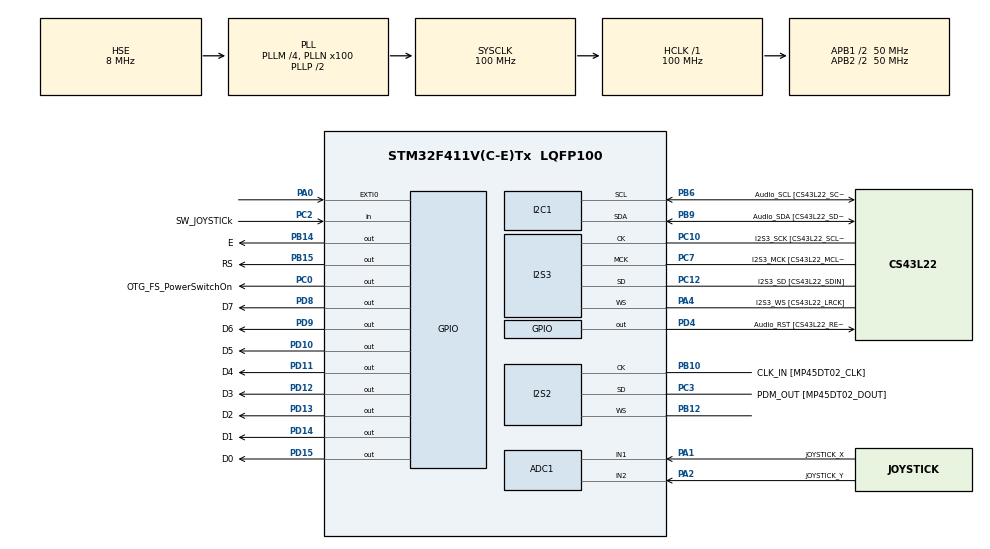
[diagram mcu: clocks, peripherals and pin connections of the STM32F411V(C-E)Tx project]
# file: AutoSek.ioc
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ADC1.Channel-0\#ChannelRegularConversion=ADC_CHANNEL_1
ADC1.Channel-1\#ChannelRegularConversion=ADC_CHANNEL_2
ADC1.NbrOfConversion=2
ADC1.NbrOfConversionFlag=1
ADC1.Rank-0\#ChannelRegularConversion=1
ADC1.Rank-1\#ChannelRegularConversion=2
ADC1.SamplingTime-0\#ChannelRegularConversion=ADC_SAMPLETIME_480CYCLES
ADC1.SamplingTime-1\#ChannelRegularConversion=ADC_SAMPLETIME_480CYCLES
ADC1.master=1
Dma.ADC1.0.Direction=DMA_PERIPH_TO_MEMORY
Dma.ADC1.0.FIFOMode=DMA_FIFOMODE_DISABLE
Dma.ADC1.0.Instance=DMA2_Stream0
Dma.ADC1.0.MemDataAlignment=DMA_MDATAALIGN_HALFWORD
Dma.ADC1.0.MemInc=DMA_MINC_ENABLE
Dma.ADC1.0.Mode=DMA_CIRCULAR
Dma.ADC1.0.PeriphDataAlignment=DMA_PDATAALIGN_HALFWORD
Dma.ADC1.0.PeriphInc=DMA_PINC_DISABLE
Dma.ADC1.0.Priority=DMA_PRIORITY_LOW
Dma.Request0=ADC1
Dma.Request1=SPI3_TX
Dma.Request2=SPI2_RX
Dma.SPI2_RX.2.Direction=DMA_PERIPH_TO_MEMORY
Dma.SPI2_RX.2.FIFOMode=DMA_FIFOMODE_DISABLE
Dma.SPI2_RX.2.Instance=DMA1_Stream3
Dma.SPI2_RX.2.MemDataAlignment=DMA_MDATAALIGN_HALFWORD
Dma.SPI2_RX.2.MemInc=DMA_MINC_ENABLE
Dma.SPI2_RX.2.Mode=DMA_CIRCULAR
Dma.SPI2_RX.2.PeriphDataAlignment=DMA_PDATAALIGN_HALFWORD
Dma.SPI2_RX.2.PeriphInc=DMA_PINC_DISABLE
Dma.SPI2_RX.2.Priority=DMA_PRIORITY_LOW
Dma.SPI3_TX.1.Direction=DMA_MEMORY_TO_PERIPH
Dma.SPI3_TX.1.FIFOMode=DMA_FIFOMODE_DISABLE
Dma.SPI3_TX.1.Instance=DMA1_Stream5
Dma.SPI3_TX.1.MemDataAlignment=DMA_MDATAALIGN_HALFWORD
Dma.SPI3_TX.1.MemInc=DMA_MINC_ENABLE
Dma.SPI3_TX.1.Mode=DMA_CIRCULAR
Dma.SPI3_TX.1.PeriphDataAlignment=DMA_PDATAALIGN_HALFWORD
Dma.SPI3_TX.1.PeriphInc=DMA_PINC_DISABLE
Dma.SPI3_TX.1.Priority=DMA_PRIORITY_LOW
I2S2.AudioFreq=I2S_AUDIOFREQ_44K
I2S2.DataFormat=I2S_DATAFORMAT_24B
I2S2.ErrorAudioFreq=0.14 %
I2S2.FullDuplexMode=I2S_FULLDUPLEXMODE_DISABLE
I2S2.Instance=SPI$Index
I2S2.Mode=I2S_MODE_SLAVE_RX
I2S2.RealAudioFreq=44.062 KHz
I2S2.Standard=I2S_STANDARD_MSB
I2S2.VirtualMode=I2S_MODE_SLAVE
I2S3.AudioFreq=I2S_AUDIOFREQ_44K
I2S3.DataFormat=I2S_DATAFORMAT_24B
I2S3.ErrorAudioFreq=0.14 %
I2S3.FullDuplexMode=I2S_FULLDUPLEXMODE_DISABLE
I2S3.Instance=SPI$Index
I2S3.RealAudioFreq=44.062 KHz
I2S3.VirtualMode=I2S_MODE_MASTER
Mcu.Family=STM32F4
Mcu.Name=STM32F411V(C-E)Tx
Mcu.Package=LQFP100
NVIC.DMA1_Stream3_IRQn=true\:0\:0\:false\:false\:true\:false\:true
NVIC.DMA1_Stream5_IRQn=true\:0\:0\:false\:false\:true\:false\:true
NVIC.DMA2_Stream0_IRQn=true\:0\:0\:false\:false\:true\:false\:true
NVIC.PriorityGroup=NVIC_PRIORITYGROUP_0
PA0-WKUP.GPIO_ModeDefaultEXTI=GPIO_MODE_EVT_RISING
PA0-WKUP.Signal=GPXTI0
PA1.GPIO_Label=JOYSTICK_X
PA1.Signal=ADCx_IN1
PA2.GPIO_Label=JOYSTICK_Y
PA2.Signal=ADCx_IN2
PA4.GPIO_Label=I2S3_WS [CS43L22_LRCK]
PA4.GPIO_Mode=GPIO_MODE_AF_PP
PA4.GPIO_PuPd=GPIO_NOPULL
PA4.GPIO_Speed=GPIO_SPEED_FREQ_HIGH
PA4.Mode=Half_Duplex_Master
PA4.Signal=I2S3_WS
PB10.GPIO_Label=CLK_IN [MP45DT02_CLK]
PB10.Mode=Half_Duplex_Slave
PB10.Signal=I2S2_CK
PB12.Mode=Half_Duplex_Slave
PB12.Signal=I2S2_WS
PB14.GPIO_Label=E
PB14.Signal=GPIO_Output
PB15.GPIO_Label=RS
PB15.Signal=GPIO_Output
PB6.GPIO_Label=Audio_SCL [CS43L22_SCL]
PB6.GPIO_Mode=GPIO_MODE_AF_OD
PB6.GPIO_PuPd=GPIO_NOPULL
PB6.GPIO_Speed=GPIO_SPEED_FREQ_LOW
PB6.Mode=I2C
PB6.Signal=I2C1_SCL
PB9.GPIO_Label=Audio_SDA [CS43L22_SDA]
PB9.GPIO_Mode=GPIO_MODE_AF_OD
PB9.GPIO_PuPd=GPIO_NOPULL
PB9.GPIO_Speed=GPIO_SPEED_FREQ_LOW
PB9.Mode=I2C
PB9.Signal=I2C1_SDA
PC0.GPIO_Label=OTG_FS_PowerSwitchOn
PC0.PinState=GPIO_PIN_SET
PC0.Signal=GPIO_Output
PC10.GPIO_Label=I2S3_SCK [CS43L22_SCLK]
PC10.GPIO_Mode=GPIO_MODE_AF_PP
PC10.GPIO_PuPd=GPIO_NOPULL
PC10.GPIO_Speed=GPIO_SPEED_FREQ_HIGH
PC10.Mode=Half_Duplex_Master
PC10.Signal=I2S3_CK
PC12.GPIO_Label=I2S3_SD [CS43L22_SDIN]
PC12.GPIO_Mode=GPIO_MODE_AF_PP
PC12.GPIO_PuPd=GPIO_NOPULL
PC12.GPIO_Speed=GPIO_SPEED_FREQ_HIGH
PC12.Mode=Half_Duplex_Master
PC12.Signal=I2S3_SD
PC14-OSC32_IN.Mode=LSE-External-Oscillator
PC14-OSC32_IN.Signal=RCC_OSC32_IN
PC15-OSC32_OUT.Mode=LSE-External-Oscillator
PC15-OSC32_OUT.Signal=RCC_OSC32_OUT
PC2.GPIO_Label=SW_JOYSTICk
PC2.GPIO_PuPd=GPIO_NOPULL
PC2.Signal=GPIO_Input
PC3.GPIO_Label=PDM_OUT [MP45DT02_DOUT]
PC3.Mode=Half_Duplex_Slave
PC3.Signal=I2S2_SD
PC7.GPIO_Label=I2S3_MCK [CS43L22_MCLK]
PC7.GPIO_Mode=GPIO_MODE_AF_PP
PC7.GPIO_PuPd=GPIO_NOPULL
PC7.GPIO_Speed=GPIO_SPEED_FREQ_HIGH
PC7.Mode=Master_Clock_Activated
PC7.Signal=I2S3_MCK
PD10.GPIO_Label=D5
PD10.Signal=GPIO_Output
PD11.GPIO_Label=D4
PD11.Signal=GPIO_Output
PD12.GPIO_Label=D3
PD12.Signal=GPIO_Output
PD13.GPIO_Label=D2
PD13.Signal=GPIO_Output
PD14.GPIO_Label=D1
PD14.Signal=GPIO_Output
PD15.GPIO_Label=D0
PD15.Signal=GPIO_Output
PD4.GPIO_Label=Audio_RST [CS43L22_RESET]
PD4.Signal=GPIO_Output
PD8.GPIO_Label=D7
PD8.Signal=GPIO_Output
PD9.GPIO_Label=D6
PD9.Signal=GPIO_Output
PDM2PCM.CHANNEL1_in_ptr_channels=1
PDM2PCM.CHANNEL1_out_ptr_channels=1
PH0\ -\ OSC_IN.GPIO_Label=PH0-OSC_IN
PH0\ -\ OSC_IN.Mode=HSE-External-Oscillator
PH0\ -\ OSC_IN.Signal=RCC_OSC_IN
PH1\ -\ OSC_OUT.GPIO_Label=PH1-OSC_OUT
PH1\ -\ OSC_OUT.Mode=HSE-External-Oscillator
PH1\ -\ OSC_OUT.Signal=RCC_OSC_OUT
ProjectManager.HeapSize=0x200
ProjectManager.StackSize=0x400
ProjectManager.TargetToolchain=STM32CubeIDE
RCC.48MHZClocksFreq_Value=25000000
RCC.AHBFreq_Value=100000000
RCC.APB1CLKDivider=RCC_HCLK_DIV2
RCC.APB1Freq_Value=50000000
RCC.APB1TimFreq_Value=100000000
RCC.APB2CLKDivider=RCC_HCLK_DIV2
RCC.APB2Freq_Value=50000000
RCC.APB2TimFreq_Value=100000000
RCC.CortexFreq_Value=100000000
RCC.HCLKFreq_Value=100000000
RCC.HSE_VALUE=8000000
RCC.HSI_VALUE=16000000
RCC.PLLI2SM=5
RCC.PLLI2SN=141
RCC.PLLM=4
RCC.PLLN=100
RCC.PLLQ=8
RCC.PLLSourceVirtual=RCC_PLLSOURCE_HSE
RCC.SYSCLKFreq_VALUE=100000000
RCC.SYSCLKSource=RCC_SYSCLKSOURCE_PLLCLK
RCC.VCOOutputFreq_Value=200000000
SH.ADCx_IN1.0=ADC1_IN1,IN1
SH.ADCx_IN2.0=ADC1_IN2,IN2
VP_CRC_VS_CRC.Mode=CRC_Activate
VP_PDM2PCM_VS_PDM2PCM.Mode=PDM2PCM_Channel
board=STM32F411E-DISCO

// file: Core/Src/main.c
/* USER CODE BEGIN Header */
/**
  ******************************************************************************
  * @file           : main.c
  * @brief          : Main program body
  ******************************************************************************
  * @attention
  *
  * <h2><center>&copy; Copyright (c) 2021 STMicroelectronics.
  * All rights reserved.</center></h2>
  *
  * This software component is licensed by ST under BSD 3-Clause license,
  * the "License"; You may not use this file except in compliance with the
  * License. You may obtain a copy of the License at:
  *                        opensource.org/licenses/BSD-3-Clause
  *
  ******************************************************************************
  */
/* USER CODE END Header */
#include "main.h"
#include "pdm2pcm.h"

ADC_HandleTypeDef hadc1;
DMA_HandleTypeDef hdma_adc1;

CRC_HandleTypeDef hcrc;

I2C_HandleTypeDef hi2c1;

I2S_HandleTypeDef hi2s2;
I2S_HandleTypeDef hi2s3;
DMA_HandleTypeDef hdma_spi2_rx;
DMA_HandleTypeDef hdma_spi3_tx;

/* USER CODE BEGIN PV */
uint16_t txBuf[128];
uint16_t pdmRxBuf[128];
uint16_t MidBuffer[16];
uint8_t txstate = 0;
uint8_t rxstate = 0;

uint16_t fifobuf[256];
uint8_t fifo_w_ptr = 0;
uint8_t fifo_r_ptr = 0;
uint8_t fifo_read_enabled = 0;
/* USER CODE END PV */

void SystemClock_Config(void);
static void MX_GPIO_Init(void);
static void MX_DMA_Init(void);
static void MX_ADC1_Init(void);
static void MX_I2C1_Init(void);
static void MX_I2S2_Init(void);
static void MX_I2S3_Init(void);
static void MX_CRC_Init(void);
/* USER CODE BEGIN PFP */
void FifoWrite(uint16_t data) {
	fifobuf[fifo_w_ptr] = data;
	fifo_w_ptr++;
}

uint16_t FifoRead() {
	uint16_t val = fifobuf[fifo_r_ptr];
	fifo_r_ptr++;
	return val;
}
/* USER CODE END PFP */

int main(void)
{

  /* MCU Configuration--------------------------------------------------------*/

  /* Reset of all peripherals, Initializes the Flash interface and the Systick. */
  HAL_Init();

  /* Configure the system clock */
  SystemClock_Config();

  /* Initialize all configured peripherals */
  MX_GPIO_Init();
  MX_DMA_Init();
  MX_ADC1_Init();
  MX_I2C1_Init();
  MX_I2S2_Init();
  MX_I2S3_Init();
  MX_CRC_Init();
  MX_PDM2PCM_Init();
  /* USER CODE BEGIN 2 */
  HAL_I2S_Transmit_DMA(&hi2s3, &txBuf[0], 64);
  HAL_I2S_Receive_DMA(&hi2s2, &pdmRxBuf[0],64);
  /* USER CODE END 2 */

  /* Infinite loop */
  /* USER CODE BEGIN WHILE */
  while (1)
  {
	  if (rxstate==1) {
	      	PDM_Filter(&pdmRxBuf[0],&MidBuffer[0], &PDM1_filter_handler);
	      	for (int i=0; i<16;i++) { FifoWrite(MidBuffer[i]); }
	      	if (fifo_w_ptr-fifo_r_ptr > 128) fifo_read_enabled=1;
	      	rxstate=0;

	      }

	      if (rxstate==2) {
	      	PDM_Filter(&pdmRxBuf[64],&MidBuffer[0], &PDM1_filter_handler);
	      	for (int i=0; i<16;i++) { FifoWrite(MidBuffer[i]); }
	      	rxstate=0;

	      }

	      if (txstate==1) {
	      	if (fifo_read_enabled==1) {
	  			for (int i=0; i<64;i=i+4) {
	  				uint16_t data = FifoRead();
	  				txBuf[i] = data;
	  				txBuf[i+2] = data;
	  			}
	      	}
	      	txstate=0;
	      }

	      if (txstate==2) {
	      	if (fifo_read_enabled==1) {
	  			for (int i=64; i<128;i=i+4) {
	  				uint16_t data = FifoRead();
	  				txBuf[i] = data;
	  				txBuf[i+2] = data;
	  			}

	  		}
	      	txstate=0;
	      }
    /* USER CODE END WHILE */

  }
}

void HAL_I2S_TxHalfCpltCallback (I2S_HandleTypeDef *hi2s) {
	txstate = 1;
}

void HAL_I2S_TxCpltCallback (I2S_HandleTypeDef *hi2s) {
	txstate = 2;
}

void HAL_I2S_RxHalfCpltCallback (I2S_HandleTypeDef *hi2s) {
	rxstate = 1;
}

void HAL_I2S_RxCpltCallback (I2S_HandleTypeDef *hi2s) {
	rxstate = 2;
}

void SystemClock_Config(void)
{
  RCC_OscInitTypeDef RCC_OscInitStruct = {0};
  RCC_ClkInitTypeDef RCC_ClkInitStruct = {0};
  RCC_PeriphCLKInitTypeDef PeriphClkInitStruct = {0};

  /** Configure the main internal regulator output voltage
  */
  __HAL_RCC_PWR_CLK_ENABLE();
  __HAL_PWR_VOLTAGESCALING_CONFIG(PWR_REGULATOR_VOLTAGE_SCALE1);
  /** Initializes the RCC Oscillators according to the specified parameters
  * in the RCC_OscInitTypeDef structure.
  */
  RCC_OscInitStruct.OscillatorType = RCC_OSCILLATORTYPE_HSE;
  RCC_OscInitStruct.HSEState = RCC_HSE_ON;
  RCC_OscInitStruct.PLL.PLLState = RCC_PLL_ON;
  RCC_OscInitStruct.PLL.PLLSource = RCC_PLLSOURCE_HSE;
  RCC_OscInitStruct.PLL.PLLM = 4;
  RCC_OscInitStruct.PLL.PLLN = 100;
  RCC_OscInitStruct.PLL.PLLP = RCC_PLLP_DIV2;
  RCC_OscInitStruct.PLL.PLLQ = 8;
  if (HAL_RCC_OscConfig(&RCC_OscInitStruct) != HAL_OK)
  {
    Error_Handler();
  }
  /** Initializes the CPU, AHB and APB buses clocks
  */
  RCC_ClkInitStruct.ClockType = RCC_CLOCKTYPE_HCLK|RCC_CLOCKTYPE_SYSCLK
                              |RCC_CLOCKTYPE_PCLK1|RCC_CLOCKTYPE_PCLK2;
  RCC_ClkInitStruct.SYSCLKSource = RCC_SYSCLKSOURCE_PLLCLK;
  RCC_ClkInitStruct.AHBCLKDivider = RCC_SYSCLK_DIV1;
  RCC_ClkInitStruct.APB1CLKDivider = RCC_HCLK_DIV2;
  RCC_ClkInitStruct.APB2CLKDivider = RCC_HCLK_DIV2;

  if (HAL_RCC_ClockConfig(&RCC_ClkInitStruct, FLASH_LATENCY_3) != HAL_OK)
  {
    Error_Handler();
  }
  PeriphClkInitStruct.PeriphClockSelection = RCC_PERIPHCLK_I2S;
  PeriphClkInitStruct.PLLI2S.PLLI2SN = 141;
  PeriphClkInitStruct.PLLI2S.PLLI2SM = 5;
  PeriphClkInitStruct.PLLI2S.PLLI2SR = 2;
  if (HAL_RCCEx_PeriphCLKConfig(&PeriphClkInitStruct) != HAL_OK)
  {
    Error_Handler();
  }
}

static void MX_ADC1_Init(void)
{

  ADC_ChannelConfTypeDef sConfig = {0};

  /** Configure the global features of the ADC (Clock, Resolution, Data Alignment and number of conversion)
  */
  hadc1.Instance = ADC1;
  hadc1.Init.ClockPrescaler = ADC_CLOCK_SYNC_PCLK_DIV2;
  hadc1.Init.Resolution = ADC_RESOLUTION_12B;
  hadc1.Init.ScanConvMode = ENABLE;
  hadc1.Init.ContinuousConvMode = DISABLE;
  hadc1.Init.DiscontinuousConvMode = DISABLE;
  hadc1.Init.ExternalTrigConvEdge = ADC_EXTERNALTRIGCONVEDGE_NONE;
  hadc1.Init.ExternalTrigConv = ADC_SOFTWARE_START;
  hadc1.Init.DataAlign = ADC_DATAALIGN_RIGHT;
  hadc1.Init.NbrOfConversion = 2;
  hadc1.Init.DMAContinuousRequests = DISABLE;
  hadc1.Init.EOCSelection = ADC_EOC_SINGLE_CONV;
  if (HAL_ADC_Init(&hadc1) != HAL_OK)
  {
    Error_Handler();
  }
  /** Configure for the selected ADC regular channel its corresponding rank in the sequencer and its sample time.
  */
  sConfig.Channel = ADC_CHANNEL_1;
  sConfig.Rank = 1;
  sConfig.SamplingTime = ADC_SAMPLETIME_480CYCLES;
  if (HAL_ADC_ConfigChannel(&hadc1, &sConfig) != HAL_OK)
  {
    Error_Handler();
  }
  /** Configure for the selected ADC regular channel its corresponding rank in the sequencer and its sample time.
  */
  sConfig.Channel = ADC_CHANNEL_2;
  sConfig.Rank = 2;
  if (HAL_ADC_ConfigChannel(&hadc1, &sConfig) != HAL_OK)
  {
    Error_Handler();
  }

}

static void MX_CRC_Init(void)
{

  hcrc.Instance = CRC;
  if (HAL_CRC_Init(&hcrc) != HAL_OK)
  {
    Error_Handler();
  }
  __HAL_CRC_DR_RESET(&hcrc);

}

static void MX_I2C1_Init(void)
{

  hi2c1.Instance = I2C1;
  hi2c1.Init.ClockSpeed = 100000;
  hi2c1.Init.DutyCycle = I2C_DUTYCYCLE_2;
  hi2c1.Init.OwnAddress1 = 0;
  hi2c1.Init.AddressingMode = I2C_ADDRESSINGMODE_7BIT;
  hi2c1.Init.DualAddressMode = I2C_DUALADDRESS_DISABLE;
  hi2c1.Init.OwnAddress2 = 0;
  hi2c1.Init.GeneralCallMode = I2C_GENERALCALL_DISABLE;
  hi2c1.Init.NoStretchMode = I2C_NOSTRETCH_DISABLE;
  if (HAL_I2C_Init(&hi2c1) != HAL_OK)
  {
    Error_Handler();
  }

}

static void MX_I2S2_Init(void)
{

  hi2s2.Instance = SPI2;
  hi2s2.Init.Mode = I2S_MODE_SLAVE_RX;
  hi2s2.Init.Standard = I2S_STANDARD_MSB;
  hi2s2.Init.DataFormat = I2S_DATAFORMAT_24B;
  hi2s2.Init.MCLKOutput = I2S_MCLKOUTPUT_DISABLE;
  hi2s2.Init.AudioFreq = I2S_AUDIOFREQ_44K;
  hi2s2.Init.CPOL = I2S_CPOL_LOW;
  hi2s2.Init.ClockSource = I2S_CLOCK_PLL;
  hi2s2.Init.FullDuplexMode = I2S_FULLDUPLEXMODE_DISABLE;
  if (HAL_I2S_Init(&hi2s2) != HAL_OK)
  {
    Error_Handler();
  }

}

static void MX_I2S3_Init(void)
{

  hi2s3.Instance = SPI3;
  hi2s3.Init.Mode = I2S_MODE_MASTER_TX;
  hi2s3.Init.Standard = I2S_STANDARD_PHILIPS;
  hi2s3.Init.DataFormat = I2S_DATAFORMAT_24B;
  hi2s3.Init.MCLKOutput = I2S_MCLKOUTPUT_ENABLE;
  hi2s3.Init.AudioFreq = I2S_AUDIOFREQ_44K;
  hi2s3.Init.CPOL = I2S_CPOL_LOW;
  hi2s3.Init.ClockSource = I2S_CLOCK_PLL;
  hi2s3.Init.FullDuplexMode = I2S_FULLDUPLEXMODE_DISABLE;
  if (HAL_I2S_Init(&hi2s3) != HAL_OK)
  {
    Error_Handler();
  }

}

static void MX_DMA_Init(void)
{

  /* DMA controller clock enable */
  __HAL_RCC_DMA2_CLK_ENABLE();
  __HAL_RCC_DMA1_CLK_ENABLE();

  /* DMA interrupt init */
  /* DMA1_Stream3_IRQn interrupt configuration */
  HAL_NVIC_SetPriority(DMA1_Stream3_IRQn, 0, 0);
  HAL_NVIC_EnableIRQ(DMA1_Stream3_IRQn);
  /* DMA1_Stream5_IRQn interrupt configuration */
  HAL_NVIC_SetPriority(DMA1_Stream5_IRQn, 0, 0);
  HAL_NVIC_EnableIRQ(DMA1_Stream5_IRQn);
  /* DMA2_Stream0_IRQn interrupt configuration */
  HAL_NVIC_SetPriority(DMA2_Stream0_IRQn, 0, 0);
  HAL_NVIC_EnableIRQ(DMA2_Stream0_IRQn);

}

static void MX_GPIO_Init(void)
{
  GPIO_InitTypeDef GPIO_InitStruct = {0};

  /* GPIO Ports Clock Enable */
  __HAL_RCC_GPIOC_CLK_ENABLE();
  __HAL_RCC_GPIOH_CLK_ENABLE();
  __HAL_RCC_GPIOA_CLK_ENABLE();
  __HAL_RCC_GPIOB_CLK_ENABLE();
  __HAL_RCC_GPIOD_CLK_ENABLE();

  /*Configure GPIO pin Output Level */
  HAL_GPIO_WritePin(OTG_FS_PowerSwitchOn_GPIO_Port, OTG_FS_PowerSwitchOn_Pin, GPIO_PIN_SET);

  /*Configure GPIO pin Output Level */
  HAL_GPIO_WritePin(GPIOB, E_Pin|RS_Pin, GPIO_PIN_RESET);

  /*Configure GPIO pin Output Level */
  HAL_GPIO_WritePin(GPIOD, D7_Pin|D6_Pin|D5_Pin|D4_Pin
                          |D3_Pin|D2_Pin|D1_Pin|D0_Pin
                          |Audio_RST_Pin, GPIO_PIN_RESET);

  /*Configure GPIO pin : OTG_FS_PowerSwitchOn_Pin */
  GPIO_InitStruct.Pin = OTG_FS_PowerSwitchOn_Pin;
  GPIO_InitStruct.Mode = GPIO_MODE_OUTPUT_PP;
  GPIO_InitStruct.Pull = GPIO_NOPULL;
  GPIO_InitStruct.Speed = GPIO_SPEED_FREQ_LOW;
  HAL_GPIO_Init(OTG_FS_PowerSwitchOn_GPIO_Port, &GPIO_InitStruct);

  /*Configure GPIO pin : SW_JOYSTICk_Pin */
  GPIO_InitStruct.Pin = SW_JOYSTICk_Pin;
  GPIO_InitStruct.Mode = GPIO_MODE_INPUT;
  GPIO_InitStruct.Pull = GPIO_NOPULL;
  HAL_GPIO_Init(SW_JOYSTICk_GPIO_Port, &GPIO_InitStruct);

  /*Configure GPIO pin : PA0 */
  GPIO_InitStruct.Pin = GPIO_PIN_0;
  GPIO_InitStruct.Mode = GPIO_MODE_EVT_RISING;
  GPIO_InitStruct.Pull = GPIO_NOPULL;
  HAL_GPIO_Init(GPIOA, &GPIO_InitStruct);

  /*Configure GPIO pins : E_Pin RS_Pin */
  GPIO_InitStruct.Pin = E_Pin|RS_Pin;
  GPIO_InitStruct.Mode = GPIO_MODE_OUTPUT_PP;
  GPIO_InitStruct.Pull = GPIO_NOPULL;
  GPIO_InitStruct.Speed = GPIO_SPEED_FREQ_LOW;
  HAL_GPIO_Init(GPIOB, &GPIO_InitStruct);

  /*Configure GPIO pins : D7_Pin D6_Pin D5_Pin D4_Pin
                           D3_Pin D2_Pin D1_Pin D0_Pin
                           Audio_RST_Pin */
  GPIO_InitStruct.Pin = D7_Pin|D6_Pin|D5_Pin|D4_Pin
                          |D3_Pin|D2_Pin|D1_Pin|D0_Pin
                          |Audio_RST_Pin;
  GPIO_InitStruct.Mode = GPIO_MODE_OUTPUT_PP;
  GPIO_InitStruct.Pull = GPIO_NOPULL;
  GPIO_InitStruct.Speed = GPIO_SPEED_FREQ_LOW;
  HAL_GPIO_Init(GPIOD, &GPIO_InitStruct);

}

void Error_Handler(void)
{
}

/************************ (C) COPYRIGHT STMicroelectronics *****END OF FILE****/
